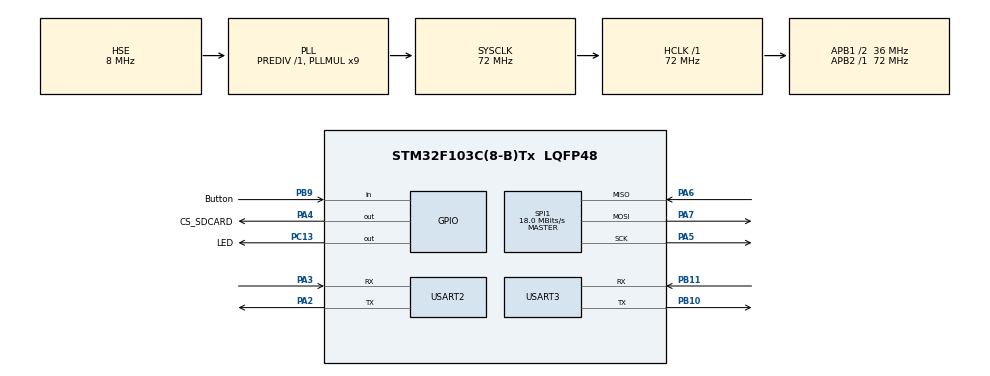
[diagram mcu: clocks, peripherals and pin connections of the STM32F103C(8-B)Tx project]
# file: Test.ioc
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FATFS._MAX_SS=4096
FATFS._USE_LFN=1
Mcu.Family=STM32F1
Mcu.Name=STM32F103C(8-B)Tx
Mcu.Package=LQFP48
NVIC.PriorityGroup=NVIC_PRIORITYGROUP_4
PA13.Mode=Serial_Wire
PA13.Signal=SYS_JTMS-SWDIO
PA14.Mode=Serial_Wire
PA14.Signal=SYS_JTCK-SWCLK
PA2.Mode=Asynchronous
PA2.Signal=USART2_TX
PA3.Mode=Asynchronous
PA3.Signal=USART2_RX
PA4.GPIO_Label=CS_SDCARD
PA4.Signal=GPIO_Output
PA5.Mode=Full_Duplex_Master
PA5.Signal=SPI1_SCK
PA6.Mode=Full_Duplex_Master
PA6.Signal=SPI1_MISO
PA7.Mode=Full_Duplex_Master
PA7.Signal=SPI1_MOSI
PB10.Mode=Asynchronous
PB10.Signal=USART3_TX
PB11.Mode=Asynchronous
PB11.Signal=USART3_RX
PB9.GPIO_Label=Button
PB9.GPIO_PuPd=GPIO_PULLUP
PB9.Signal=GPIO_Input
PC13-TAMPER-RTC.GPIO_Label=LED
PC13-TAMPER-RTC.Signal=GPIO_Output
PD0-OSC_IN.Mode=HSE-External-Oscillator
PD0-OSC_IN.Signal=RCC_OSC_IN
PD1-OSC_OUT.Mode=HSE-External-Oscillator
PD1-OSC_OUT.Signal=RCC_OSC_OUT
ProjectManager.HeapSize=0x200
ProjectManager.StackSize=0x400
ProjectManager.TargetToolchain=STM32CubeIDE
RCC.AHBFreq_Value=72000000
RCC.APB1CLKDivider=RCC_HCLK_DIV2
RCC.APB1Freq_Value=36000000
RCC.APB1TimFreq_Value=72000000
RCC.APB2Freq_Value=72000000
RCC.APB2TimFreq_Value=72000000
RCC.HCLKFreq_Value=72000000
RCC.PLLMUL=RCC_PLL_MUL9
RCC.PLLSourceVirtual=RCC_PLLSOURCE_HSE
RCC.SYSCLKFreq_VALUE=72000000
RCC.SYSCLKSource=RCC_SYSCLKSOURCE_PLLCLK
RCC.USBFreq_Value=72000000
SPI1.BaudRatePrescaler=SPI_BAUDRATEPRESCALER_4
SPI1.CalculateBaudRate=18.0 MBits/s
SPI1.Direction=SPI_DIRECTION_2LINES
SPI1.Mode=SPI_MODE_MASTER
SPI1.VirtualType=VM_MASTER
USART2.VirtualMode=VM_ASYNC
USART3.VirtualMode=VM_ASYNC
VP_FATFS_VS_Generic.Mode=User_defined
board=custom

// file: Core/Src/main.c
/* USER CODE BEGIN Header */
/**
  ******************************************************************************
  * @file           : main.c
  * @brief          : Main program body
  ******************************************************************************
  * @attention
  *
  * Copyright (c) 2022 STMicroelectronics.
  * All rights reserved.
  *
  * This software is licensed under terms that can be found in the LICENSE file
  * in the root directory of this software component.
  * If no LICENSE file comes with this software, it is provided AS-IS.
  *
  ******************************************************************************
  */
/* USER CODE END Header */
#include "main.h"
#include "fatfs.h"

/* USER CODE BEGIN Includes */
#include "fatfs_sd.h"
#include "string.h"
#include "stdio.h"
/* USER CODE END Includes */

SPI_HandleTypeDef hspi1;

UART_HandleTypeDef huart2;
UART_HandleTypeDef huart3;

void SystemClock_Config(void);
static void MX_GPIO_Init(void);
static void MX_USART2_UART_Init(void);
static void MX_USART3_UART_Init(void);
static void MX_SPI1_Init(void);

/* USER CODE BEGIN 0 */
FATFS fs;
FIL fil;
FRESULT fresult;
char bufferSD[1024];
char bufferADSB[1024];

UINT br, bw;
FATFS *pfs;
DWORD fre_clust;
uint32_t total, free_space;

void send_uart(char *string){
	uint8_t len = strlen(string);
	HAL_UART_Transmit(&huart2, (uint8_t*)string, len, 2000);
}

int bufsize(char *buf){
	int i = 0;
	while(*buf++ != '\0')
		i++;
	return i;
}

void bufclear(void){
	for(int i = 0; i<1024; i++){
		bufferADSB[i] = '\0';
	}
}
/* USER CODE END 0 */

int main(void)
{

  /* MCU Configuration--------------------------------------------------------*/

  /* Reset of all peripherals, Initializes the Flash interface and the Systick. */
  HAL_Init();

  /* Configure the system clock */
  SystemClock_Config();

  /* Initialize all configured peripherals */
  MX_GPIO_Init();
  MX_USART2_UART_Init();
  MX_USART3_UART_Init();
  MX_SPI1_Init();
  MX_FATFS_Init();

  /* USER CODE BEGIN 2 */
  fresult = f_mount(&fs, "", 0);
  if(fresult != FR_OK)
	  send_uart("Error in mounting SD CARD...\n\r");
  else{
	  send_uart("SD CARD mounted succesfully...\n\r");
	  send_uart("Result_File.txt created\n\r");
  }

  f_open(&fil, "Result_File.txt", FA_OPEN_ALWAYS | FA_WRITE | FA_READ);
  int loop = 0;
  /* USER CODE END 2 */

  /* Infinite loop */
  /* USER CODE BEGIN WHILE */
  while (loop<50){
    /* USER CODE END WHILE */

    /* USER CODE BEGIN 3 */
	  for(int i=0; i<256; i++)
	  {
		  bufferADSB[i] = HAL_UART_Receive(&huart3, bufferADSB, sizeof(bufferADSB), 10);
		  if(bufferADSB[i] == '\r\n')
			  break;
	  }
	  HAL_UART_Transmit(&huart2, bufferADSB, sizeof(bufferADSB), 10);
	  f_printf(&fil, "Receiver: '%s' \n\r", bufferADSB);
	  bufclear();

	  loop++;
  }
  f_close(&fil);
  send_uart("\n\r-----------------------------\n\rClosing file......Done \n\r");
  /* USER CODE END 3 */
}

void SystemClock_Config(void)
{
  RCC_OscInitTypeDef RCC_OscInitStruct = {0};
  RCC_ClkInitTypeDef RCC_ClkInitStruct = {0};

  /** Initializes the RCC Oscillators according to the specified parameters
  * in the RCC_OscInitTypeDef structure.
  */
  RCC_OscInitStruct.OscillatorType = RCC_OSCILLATORTYPE_HSE;
  RCC_OscInitStruct.HSEState = RCC_HSE_ON;
  RCC_OscInitStruct.HSEPredivValue = RCC_HSE_PREDIV_DIV1;
  RCC_OscInitStruct.HSIState = RCC_HSI_ON;
  RCC_OscInitStruct.PLL.PLLState = RCC_PLL_ON;
  RCC_OscInitStruct.PLL.PLLSource = RCC_PLLSOURCE_HSE;
  RCC_OscInitStruct.PLL.PLLMUL = RCC_PLL_MUL9;
  if (HAL_RCC_OscConfig(&RCC_OscInitStruct) != HAL_OK)
  {
    Error_Handler();
  }

  /** Initializes the CPU, AHB and APB buses clocks
  */
  RCC_ClkInitStruct.ClockType = RCC_CLOCKTYPE_HCLK|RCC_CLOCKTYPE_SYSCLK
                              |RCC_CLOCKTYPE_PCLK1|RCC_CLOCKTYPE_PCLK2;
  RCC_ClkInitStruct.SYSCLKSource = RCC_SYSCLKSOURCE_PLLCLK;
  RCC_ClkInitStruct.AHBCLKDivider = RCC_SYSCLK_DIV1;
  RCC_ClkInitStruct.APB1CLKDivider = RCC_HCLK_DIV2;
  RCC_ClkInitStruct.APB2CLKDivider = RCC_HCLK_DIV1;

  if (HAL_RCC_ClockConfig(&RCC_ClkInitStruct, FLASH_LATENCY_2) != HAL_OK)
  {
    Error_Handler();
  }
}

static void MX_SPI1_Init(void)
{

  /* SPI1 parameter configuration*/
  hspi1.Instance = SPI1;
  hspi1.Init.Mode = SPI_MODE_MASTER;
  hspi1.Init.Direction = SPI_DIRECTION_2LINES;
  hspi1.Init.DataSize = SPI_DATASIZE_8BIT;
  hspi1.Init.CLKPolarity = SPI_POLARITY_LOW;
  hspi1.Init.CLKPhase = SPI_PHASE_1EDGE;
  hspi1.Init.NSS = SPI_NSS_SOFT;
  hspi1.Init.BaudRatePrescaler = SPI_BAUDRATEPRESCALER_4;
  hspi1.Init.FirstBit = SPI_FIRSTBIT_MSB;
  hspi1.Init.TIMode = SPI_TIMODE_DISABLE;
  hspi1.Init.CRCCalculation = SPI_CRCCALCULATION_DISABLE;
  hspi1.Init.CRCPolynomial = 10;
  if (HAL_SPI_Init(&hspi1) != HAL_OK)
  {
    Error_Handler();
  }

}

static void MX_USART2_UART_Init(void)
{

  huart2.Instance = USART2;
  huart2.Init.BaudRate = 115200;
  huart2.Init.WordLength = UART_WORDLENGTH_8B;
  huart2.Init.StopBits = UART_STOPBITS_1;
  huart2.Init.Parity = UART_PARITY_NONE;
  huart2.Init.Mode = UART_MODE_TX_RX;
  huart2.Init.HwFlowCtl = UART_HWCONTROL_NONE;
  huart2.Init.OverSampling = UART_OVERSAMPLING_16;
  if (HAL_UART_Init(&huart2) != HAL_OK)
  {
    Error_Handler();
  }

}

static void MX_USART3_UART_Init(void)
{

  huart3.Instance = USART3;
  huart3.Init.BaudRate = 115200;
  huart3.Init.WordLength = UART_WORDLENGTH_8B;
  huart3.Init.StopBits = UART_STOPBITS_1;
  huart3.Init.Parity = UART_PARITY_NONE;
  huart3.Init.Mode = UART_MODE_TX_RX;
  huart3.Init.HwFlowCtl = UART_HWCONTROL_NONE;
  huart3.Init.OverSampling = UART_OVERSAMPLING_16;
  if (HAL_UART_Init(&huart3) != HAL_OK)
  {
    Error_Handler();
  }

}

static void MX_GPIO_Init(void)
{
  GPIO_InitTypeDef GPIO_InitStruct = {0};

  /* GPIO Ports Clock Enable */
  __HAL_RCC_GPIOC_CLK_ENABLE();
  __HAL_RCC_GPIOD_CLK_ENABLE();
  __HAL_RCC_GPIOA_CLK_ENABLE();
  __HAL_RCC_GPIOB_CLK_ENABLE();

  /*Configure GPIO pin Output Level */
  HAL_GPIO_WritePin(LED_GPIO_Port, LED_Pin, GPIO_PIN_RESET);

  /*Configure GPIO pin Output Level */
  HAL_GPIO_WritePin(CS_SDCARD_GPIO_Port, CS_SDCARD_Pin, GPIO_PIN_RESET);

  /*Configure GPIO pin : LED_Pin */
  GPIO_InitStruct.Pin = LED_Pin;
  GPIO_InitStruct.Mode = GPIO_MODE_OUTPUT_PP;
  GPIO_InitStruct.Pull = GPIO_NOPULL;
  GPIO_InitStruct.Speed = GPIO_SPEED_FREQ_LOW;
  HAL_GPIO_Init(LED_GPIO_Port, &GPIO_InitStruct);

  /*Configure GPIO pin : CS_SDCARD_Pin */
  GPIO_InitStruct.Pin = CS_SDCARD_Pin;
  GPIO_InitStruct.Mode = GPIO_MODE_OUTPUT_PP;
  GPIO_InitStruct.Pull = GPIO_NOPULL;
  GPIO_InitStruct.Speed = GPIO_SPEED_FREQ_LOW;
  HAL_GPIO_Init(CS_SDCARD_GPIO_Port, &GPIO_InitStruct);

  /*Configure GPIO pin : Button_Pin */
  GPIO_InitStruct.Pin = Button_Pin;
  GPIO_InitStruct.Mode = GPIO_MODE_INPUT;
  GPIO_InitStruct.Pull = GPIO_PULLUP;
  HAL_GPIO_Init(Button_GPIO_Port, &GPIO_InitStruct);

}

void Error_Handler(void)
{
  __disable_irq();
  while (1)
  {
  }
}
